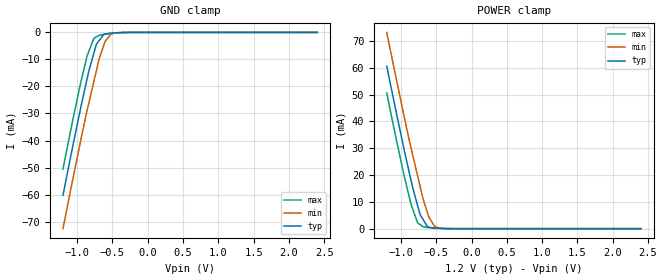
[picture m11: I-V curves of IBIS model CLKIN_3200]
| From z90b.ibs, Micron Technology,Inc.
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| MODEL CLKIN_3200 (Clock Input Model, 2933/3200Mbps)
[Model]   CLKIN_3200
Model_type   Input
Vinl = 500.000mV
Vinh = 700.000mV
|   typ   min   max
|C_comp   0.519pF   0.468pF   0.569pF
C_comp_power_clamp   0.2595pF   0.2340pF   0.2845pF
C_comp_gnd_clamp   0.2595pF   0.2340pF   0.2845pF
[Model Spec]
| Input threshold voltage corners
Vinl   0.5000V   0.4700V   0.5300V
Vinh   0.7000V   0.6700V   0.7300V
| Dynamic Overshoot Parameters from DDR4 Specification
|D_overshoot_ampl_h   0.30   NA   NA
|D_overshoot_ampl_l   0.30   NA   NA
|D_overshoot_area_h   0.0775n   NA   NA
|D_overshoot_area_l   0.0762n   NA   NA
[Receiver Thresholds]
|Vth   =  0.600V
|Vth_min  =  0.5880V
|Vth_max  =  0.6120V
|Vinh_ac  =  0.100V
|Vinh_dc  =  0.075V
|Vinl_ac  = -0.100V
|Vinl_dc  = -0.075V
|Tslew_ac =  5.000ns |Not specified, so set to high value
|Threshold_sensitivity = 0.50
|Reference_supply Power_clamp_ref
|NOTE: If using the IBISCHK 4.2.1 or older parser, Differential receiver
|threshold parameters must be commented out because the parser generates
|errors for multiple differential models.
Vcross_low   = 0.525V
Vcross_high  = 0.675V
Vdiff_ac   = 200mV
Vdiff_dc   = 150mV
Tdiffslew_ac = 10.000ns |Not specified, so set to high value
[Voltage Range]   1.2000V   1.1400V   1.2600V
[POWER Clamp Reference]   1.2000V   1.1400V   1.2600V
| Junction Temperature (Ambient temp is 35C typ, 95C min, 0C max)
[Temperature Range]   50.0   110.0   0.0
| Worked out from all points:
|   GND clamp passes 1 mA (typ) near -0.63 V on its own axis
|   POWER clamp passes 1 mA (typ) near -0.63 V on its own axis
[GND Clamp]
|   Voltage   I(typ)   I(min)   I(max)
-1.2V     -60.3mA    -72.61mA   -50.58mA
-960mV    -29.26mA   -41.36mA   -19.87mA
-860mV    -17.31mA   -29.01mA   -8.819mA
-830mV    -13.86mA   -25.66mA   -6.754mA
-765mV    -7.854mA   -18.39mA   -2.278mA
-725mV    -4.326mA   -13.92mA   -1.62mA
-685mV    -2.924mA   -9.561mA   -1.057mA
-625mV    -822.4uA   -4.893mA   -745.3uA
-605mV    -652.8uA   -3.364mA   -668.6uA
-525mV    -301.3uA   -719.5uA   -411.8uA
-315mV    -28.99uA   -16.57uA   -45.66uA
2.4V      0A         0A         0A
[POWER Clamp]
|   Voltage   I(typ)   I(min)   I(max)
-1.2V     60.61mA    73.15mA    50.57mA
-955mV    29.65mA    42.01mA    19.9mA
-860mV    18.48mA    30.49mA    9.465mA
-765mV    8.82mA     19.9mA     2.269mA
-725mV    5.138mA    15.44mA    1.446mA
-690mV    3.609mA    11.53mA    813.4uA
-625mV    769.3uA    6.02mA     458.6uA
-605mV    565.9uA    4.363mA    405.5uA
-520mV    180.6uA    829.9uA    236.4uA
-455mV    98.1uA     173.6uA    135.6uA
-320mV    13.81uA    9.991uA    23.13uA
2.4V      0A         0A         0A
